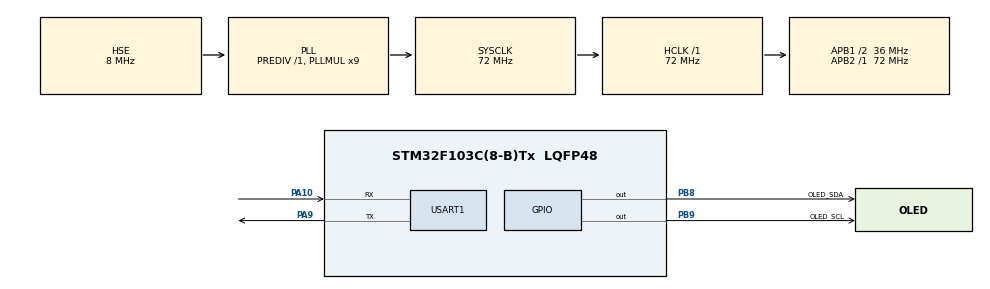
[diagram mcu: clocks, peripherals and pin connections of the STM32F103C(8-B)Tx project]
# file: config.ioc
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Mcu.Family=STM32F1
Mcu.Name=STM32F103C(8-B)Tx
Mcu.Package=LQFP48
NVIC.PriorityGroup=NVIC_PRIORITYGROUP_4
NVIC.USART1_IRQn=true\:0\:0\:false\:false\:true\:true\:true\:true
PA10.Mode=Asynchronous
PA10.Signal=USART1_RX
PA13.Mode=Serial_Wire
PA13.Signal=SYS_JTMS-SWDIO
PA14.Mode=Serial_Wire
PA14.Signal=SYS_JTCK-SWCLK
PA9.Mode=Asynchronous
PA9.Signal=USART1_TX
PB8.GPIO_Label=OLED_SDA
PB8.GPIO_ModeDefaultOutputPP=GPIO_MODE_OUTPUT_OD
PB8.GPIO_PuPd=GPIO_NOPULL
PB8.GPIO_Speed=GPIO_SPEED_FREQ_HIGH
PB8.PinState=GPIO_PIN_SET
PB8.Signal=GPIO_Output
PB9.GPIO_Label=OLED_SCL
PB9.GPIO_ModeDefaultOutputPP=GPIO_MODE_OUTPUT_OD
PB9.GPIO_PuPd=GPIO_NOPULL
PB9.GPIO_Speed=GPIO_SPEED_FREQ_HIGH
PB9.PinState=GPIO_PIN_SET
PB9.Signal=GPIO_Output
PD0-OSC_IN.Mode=HSE-External-Oscillator
PD0-OSC_IN.Signal=RCC_OSC_IN
PD1-OSC_OUT.Mode=HSE-External-Oscillator
PD1-OSC_OUT.Signal=RCC_OSC_OUT
ProjectManager.HeapSize=0x200
ProjectManager.StackSize=0x400
ProjectManager.TargetToolchain=CMake
RCC.AHBFreq_Value=72000000
RCC.APB1CLKDivider=RCC_HCLK_DIV2
RCC.APB1Freq_Value=36000000
RCC.APB1TimFreq_Value=72000000
RCC.APB2Freq_Value=72000000
RCC.APB2TimFreq_Value=72000000
RCC.HCLKFreq_Value=72000000
RCC.PLLMUL=RCC_PLL_MUL9
RCC.PLLSourceVirtual=RCC_PLLSOURCE_HSE
RCC.SYSCLKFreq_VALUE=72000000
RCC.SYSCLKSource=RCC_SYSCLKSOURCE_PLLCLK
RCC.USBFreq_Value=72000000
USART1.VirtualMode=VM_ASYNC
board=custom

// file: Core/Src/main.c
/* USER CODE BEGIN Header */
/**
 ******************************************************************************
 * @file           : main.c
 * @brief          : Main program body
 ******************************************************************************
 * @attention
 *
 * Copyright (c) 2026 STMicroelectronics.
 * All rights reserved.
 *
 * This software is licensed under terms that can be found in the LICENSE file
 * in the root directory of this software component.
 * If no LICENSE file comes with this software, it is provided AS-IS.
 *
 ******************************************************************************
 */
/* USER CODE END Header */
#include "main.h"
#include "stm32f1xx_hal.h"
#include "stm32f1xx_hal_def.h"
#include "stm32f1xx_hal_uart.h"
#include "usart.h"
#include "gpio.h"

/* USER CODE BEGIN Includes */
#include "OLED.h"
#include <stdint.h>
#include <stdlib.h>
#include <string.h>
#include <sys/_intsup.h>

/* USER CODE END Includes */

/* USER CODE BEGIN PV */
char* str_stby = "UART Standby.\r\n";

uint8_t received_data[5];
uint8_t received_data_array[5];
/* USER CODE END PV */

void SystemClock_Config(void);

int main(void)
{

  /* MCU Configuration--------------------------------------------------------*/

  /* Reset of all peripherals, Initializes the Flash interface and the Systick. */
  HAL_Init();

  /* Configure the system clock */
  SystemClock_Config();

  /* Initialize all configured peripherals */
  MX_GPIO_Init();
  MX_USART1_UART_Init();
  /* USER CODE BEGIN 2 */
  OLED_Init();
  OLED_Clear();

  OLED_ShowString(1, 1, "receieved data:");
  HAL_UART_Transmit(&huart1, (uint8_t*)str_stby, strlen(str_stby), HAL_MAX_DELAY);

  HAL_UART_Receive_IT(&huart1, (uint8_t *)received_data, sizeof(received_data));
  /* USER CODE END 2 */

  /* Infinite loop */
  /* USER CODE BEGIN WHILE */
  while (1) {
    OLED_ShowString(2, 1, (char *)received_data);
    HAL_Delay(100);
    /* USER CODE END WHILE */

  }
}

void SystemClock_Config(void)
{
  RCC_OscInitTypeDef RCC_OscInitStruct = {0};
  RCC_ClkInitTypeDef RCC_ClkInitStruct = {0};

  /** Initializes the RCC Oscillators according to the specified parameters
  * in the RCC_OscInitTypeDef structure.
  */
  RCC_OscInitStruct.OscillatorType = RCC_OSCILLATORTYPE_HSE;
  RCC_OscInitStruct.HSEState = RCC_HSE_ON;
  RCC_OscInitStruct.HSEPredivValue = RCC_HSE_PREDIV_DIV1;
  RCC_OscInitStruct.HSIState = RCC_HSI_ON;
  RCC_OscInitStruct.PLL.PLLState = RCC_PLL_ON;
  RCC_OscInitStruct.PLL.PLLSource = RCC_PLLSOURCE_HSE;
  RCC_OscInitStruct.PLL.PLLMUL = RCC_PLL_MUL9;
  if (HAL_RCC_OscConfig(&RCC_OscInitStruct) != HAL_OK)
  {
    Error_Handler();
  }

  /** Initializes the CPU, AHB and APB buses clocks
  */
  RCC_ClkInitStruct.ClockType = RCC_CLOCKTYPE_HCLK|RCC_CLOCKTYPE_SYSCLK
                              |RCC_CLOCKTYPE_PCLK1|RCC_CLOCKTYPE_PCLK2;
  RCC_ClkInitStruct.SYSCLKSource = RCC_SYSCLKSOURCE_PLLCLK;
  RCC_ClkInitStruct.AHBCLKDivider = RCC_SYSCLK_DIV1;
  RCC_ClkInitStruct.APB1CLKDivider = RCC_HCLK_DIV2;
  RCC_ClkInitStruct.APB2CLKDivider = RCC_HCLK_DIV1;

  if (HAL_RCC_ClockConfig(&RCC_ClkInitStruct, FLASH_LATENCY_2) != HAL_OK)
  {
    Error_Handler();
  }
}

/* USER CODE BEGIN 4 */
void HAL_UART_RxCpltCallback(UART_HandleTypeDef *huart)
{
  HAL_UART_Transmit(&huart1, (uint8_t *)"received data: ", 15, HAL_MAX_DELAY);
  HAL_UART_Transmit(&huart1, received_data, sizeof(received_data), HAL_MAX_DELAY);
  HAL_UART_Transmit(&huart1, (uint8_t *)"\r\n", 2, HAL_MAX_DELAY);

  HAL_UART_Receive_IT(&huart1, received_data, sizeof(received_data));
}
/* USER CODE END 4 */

void Error_Handler(void)
{
  __disable_irq();
  while (1) {
  }
}
#ifdef USE_FULL_ASSERT
/**
  * @brief  Reports the name of the source file and the source line number
  *         where the assert_param error has occurred.
  * @param  file: pointer to the source file name
  * @param  line: assert_param error line source number
  * @retval None
  */
void assert_failed(uint8_t *file, uint32_t line)
{
  /* USER CODE BEGIN 6 */
  /* User can add his own implementation to report the file name and line
     number, ex: printf("Wrong parameters value: file %s on line %d\r\n", file,
     line) */
  /* USER CODE END 6 */
}
#endif /* USE_FULL_ASSERT */
